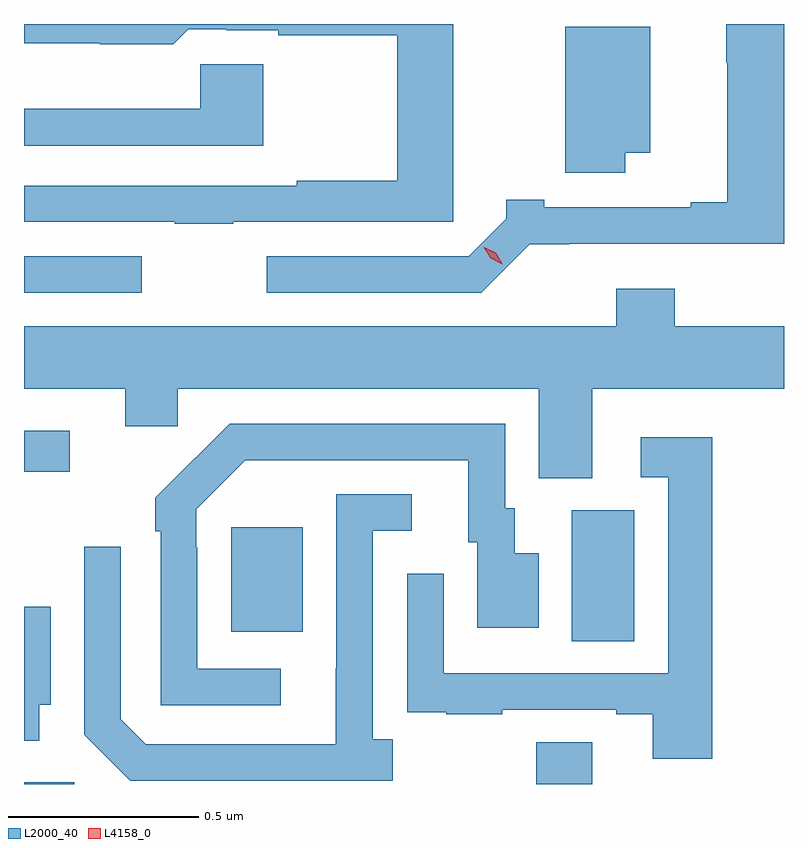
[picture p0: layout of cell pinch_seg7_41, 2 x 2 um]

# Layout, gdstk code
import gdstk
lib = gdstk.Library(unit=1e-6, precision=1e-09)
def R(c, l, rs):  # rectangles x0, y0, x1, y1
    for r in rs: c.add(gdstk.rectangle(r[:2], r[2:], *l))
def P(c, l, *ps):  # polygons
    for p in ps: c.add(gdstk.Polygon(p, *l))
L2000_40 = (2000, 40)
L4158_0 = (4158, 0)

pinch_seg7_41 = lib.new_cell('pinch_seg7_41')
R(pinch_seg7_41, L2000_40, [(1049.478,1044.864,1049.61,1044.868), (1050.826,1044.864,1050.973,1044.974), (1050.92,1045.24,1051.084,1045.584), (1050.023,1045.265,1050.211,1045.54), (1049.478,1045.686,1049.599,1045.794), (1049.478,1046.157,1049.788,1046.253)])
P(pinch_seg7_41, L2000_40, [(1050.029,1046.343),(1050.607,1046.343),(1050.607,1046.864),(1049.478,1046.864),(1049.478,1046.813),(1049.677,1046.813),(1049.677,1046.811),(1049.871,1046.811),(1049.91,1046.85),(1050.01,1046.85),(1050.01,1046.847),(1050.147,1046.847),(1050.147,1046.835),(1050.46,1046.835),(1050.46,1046.452),(1050.196,1046.452),(1050.196,1046.439),(1049.478,1046.439),(1049.478,1046.343),(1049.875,1046.343),(1049.875,1046.338),(1050.029,1046.338)],
  [(1050.809,1046.285),(1050.913,1046.285),(1050.913,1046.286),(1051.478,1046.286),(1051.478,1046.864),(1051.326,1046.864),(1051.326,1046.762),(1051.328,1046.762),(1051.328,1046.395),(1051.232,1046.395),(1051.232,1046.382),(1050.847,1046.382),(1050.847,1046.402),(1050.747,1046.402),(1050.747,1046.352),(1050.648,1046.253),(1050.117,1046.253),(1050.117,1046.157),(1050.681,1046.157)],
  [(1051.06,1046.525),(1051.126,1046.525),(1051.126,1046.857),(1050.902,1046.857),(1050.902,1046.472),(1051.06,1046.472)],
  [(1050.108,1046.758),(1049.942,1046.758),(1049.942,1046.641),(1049.478,1046.641),(1049.478,1046.544),(1050.108,1046.544)],
  [(1050.973,1045.904),(1051.478,1045.904),(1051.478,1046.068),(1051.19,1046.068),(1051.19,1046.167),(1051.037,1046.167),(1051.037,1046.068),(1049.478,1046.068),(1049.478,1045.904),(1049.744,1045.904),(1049.744,1045.806),(1049.883,1045.806),(1049.883,1045.904),(1050.833,1045.904),(1050.833,1045.669),(1050.973,1045.669)],
  [(1050.154,1045.167),(1049.934,1045.167),(1049.934,1045.487),(1049.931,1045.487),(1049.931,1045.587),(1050.06,1045.716),(1050.647,1045.716),(1050.647,1045.5),(1050.671,1045.5),(1050.671,1045.275),(1050.832,1045.275),(1050.832,1045.471),(1050.769,1045.471),(1050.769,1045.59),(1050.744,1045.59),(1050.744,1045.812),(1050.02,1045.812),(1049.929,1045.721),(1049.928,1045.722),(1049.823,1045.617),(1049.823,1045.529),(1049.838,1045.529),(1049.838,1045.071),(1050.154,1045.071)],
  [(1051.289,1045.777),(1051.101,1045.777),(1051.101,1045.671),(1051.173,1045.671),(1051.173,1045.155),(1050.582,1045.155),(1050.582,1045.417),(1050.486,1045.417),(1050.486,1045.162),(1050.487,1045.162),(1050.487,1045.053),(1050.589,1045.053),(1050.589,1045.047),(1050.737,1045.047),(1050.737,1045.059),(1051.037,1045.059),(1051.037,1045.047),(1051.133,1045.047),(1051.133,1044.93),(1051.289,1044.93)],
  [(1050.448,1044.982),(1050.396,1044.982),(1050.396,1045.53),(1050.499,1045.53),(1050.499,1045.626),(1050.3,1045.626),(1050.3,1045.169),(1050.299,1045.169),(1050.299,1044.969),(1049.799,1044.969),(1049.733,1045.035),(1049.733,1045.489),(1049.637,1045.489),(1049.637,1044.993),(1049.758,1044.872),(1050.448,1044.872)],
  [(1049.518,1045.073),(1049.548,1045.073),(1049.548,1045.33),(1049.478,1045.33),(1049.478,1044.978),(1049.518,1044.978)])
P(pinch_seg7_41, L4158_0, [(1050.737,1046.232),(1050.706,1046.247),(1050.688,1046.277),(1050.688,1046.277),(1050.689,1046.277),(1050.72,1046.262),(1050.737,1046.233),(1050.737,1046.232)])

lib.write_gds('pinch_seg7_41.gds')
